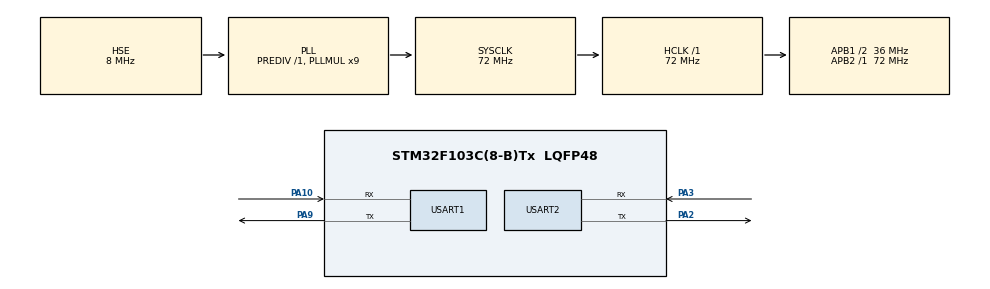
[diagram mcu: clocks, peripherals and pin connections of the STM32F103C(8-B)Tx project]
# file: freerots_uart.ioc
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Dma.Request0=USART1_RX
Dma.Request1=USART1_TX
Dma.USART1_RX.0.Direction=DMA_PERIPH_TO_MEMORY
Dma.USART1_RX.0.Instance=DMA1_Channel5
Dma.USART1_RX.0.MemDataAlignment=DMA_MDATAALIGN_BYTE
Dma.USART1_RX.0.MemInc=DMA_MINC_ENABLE
Dma.USART1_RX.0.Mode=DMA_NORMAL
Dma.USART1_RX.0.PeriphDataAlignment=DMA_PDATAALIGN_BYTE
Dma.USART1_RX.0.PeriphInc=DMA_PINC_DISABLE
Dma.USART1_RX.0.Priority=DMA_PRIORITY_LOW
Dma.USART1_TX.1.Direction=DMA_MEMORY_TO_PERIPH
Dma.USART1_TX.1.Instance=DMA1_Channel4
Dma.USART1_TX.1.MemDataAlignment=DMA_MDATAALIGN_BYTE
Dma.USART1_TX.1.MemInc=DMA_MINC_ENABLE
Dma.USART1_TX.1.Mode=DMA_NORMAL
Dma.USART1_TX.1.PeriphDataAlignment=DMA_PDATAALIGN_BYTE
Dma.USART1_TX.1.PeriphInc=DMA_PINC_DISABLE
Dma.USART1_TX.1.Priority=DMA_PRIORITY_LOW
FREERTOS.Tasks01=defaultTask,24,128,StartDefaultTask,Default,NULL,Dynamic,NULL,NULL
FREERTOS.configTOTAL_HEAP_SIZE=10240
Mcu.Family=STM32F1
Mcu.Name=STM32F103C(8-B)Tx
Mcu.Package=LQFP48
NVIC.DMA1_Channel4_IRQn=true\:5\:0\:false\:false\:true\:true\:false\:true\:true
NVIC.DMA1_Channel5_IRQn=true\:5\:0\:false\:false\:true\:true\:false\:true\:true
NVIC.PriorityGroup=NVIC_PRIORITYGROUP_4
NVIC.TIM4_IRQn=true\:15\:0\:false\:false\:true\:false\:false\:true\:true
NVIC.TimeBase=TIM4_IRQn
NVIC.TimeBaseIP=TIM4
NVIC.USART1_IRQn=true\:5\:0\:false\:false\:true\:true\:true\:true\:true
PA10.Mode=Asynchronous
PA10.Signal=USART1_RX
PA13.Mode=Serial_Wire
PA13.Signal=SYS_JTMS-SWDIO
PA14.Mode=Serial_Wire
PA14.Signal=SYS_JTCK-SWCLK
PA2.Mode=Asynchronous
PA2.Signal=USART2_TX
PA3.Mode=Asynchronous
PA3.Signal=USART2_RX
PA9.Mode=Asynchronous
PA9.Signal=USART1_TX
PC14-OSC32_IN.Mode=LSE-External-Oscillator
PC14-OSC32_IN.Signal=RCC_OSC32_IN
PC15-OSC32_OUT.Mode=LSE-External-Oscillator
PC15-OSC32_OUT.Signal=RCC_OSC32_OUT
PD0-OSC_IN.Mode=HSE-External-Oscillator
PD0-OSC_IN.Signal=RCC_OSC_IN
PD1-OSC_OUT.Mode=HSE-External-Oscillator
PD1-OSC_OUT.Signal=RCC_OSC_OUT
ProjectManager.HeapSize=0x200
ProjectManager.StackSize=0x400
ProjectManager.TargetToolchain=CMake
RCC.AHBFreq_Value=72000000
RCC.APB1CLKDivider=RCC_HCLK_DIV2
RCC.APB1Freq_Value=36000000
RCC.APB1TimFreq_Value=72000000
RCC.APB2Freq_Value=72000000
RCC.APB2TimFreq_Value=72000000
RCC.HCLKFreq_Value=72000000
RCC.PLLMUL=RCC_PLL_MUL9
RCC.PLLSourceVirtual=RCC_PLLSOURCE_HSE
RCC.SYSCLKFreq_VALUE=72000000
RCC.SYSCLKSource=RCC_SYSCLKSOURCE_PLLCLK
RCC.USBFreq_Value=72000000
USART1.VirtualMode=VM_ASYNC
USART2.VirtualMode=VM_ASYNC
VP_FREERTOS_VS_CMSIS_V2.Mode=CMSIS_V2
VP_SYS_VS_tim4.Mode=TIM4
board=custom

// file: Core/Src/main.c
/* USER CODE BEGIN Header */
/**
  ******************************************************************************
  * @file           : main.c
  * @brief          : Main program body
  ******************************************************************************
  * @attention
  *
  * Copyright (c) 2026 STMicroelectronics.
  * All rights reserved.
  *
  * This software is licensed under terms that can be found in the LICENSE file
  * in the root directory of this software component.
  * If no LICENSE file comes with this software, it is provided AS-IS.
  *
  ******************************************************************************
  */
/* USER CODE END Header */
#include "main.h"
#include "cmsis_os.h"

/* USER CODE BEGIN Includes */
#include "uart_driver.h"
#include "stdio.h"
#include "at_socket.h"

/* USER CODE END Includes */

/* USER CODE BEGIN PD */
#define WIFI_SSID     "Crazy"
#define WIFI_PWD      "12345987"
#define SERVER_IP     "172.20.10.2"
#define SERVER_PORT 8888
/* USER CODE END PD */

UART_HandleTypeDef huart1;
UART_HandleTypeDef huart2;
DMA_HandleTypeDef hdma_usart1_rx;
DMA_HandleTypeDef hdma_usart1_tx;

/* Definitions for defaultTask */
osThreadId_t defaultTaskHandle;
const osThreadAttr_t defaultTask_attributes = {
  .name = "defaultTask",
  .stack_size = 512 * 4,
  .priority = (osPriority_t) osPriorityNormal,
};

void SystemClock_Config(void);
static void MX_GPIO_Init(void);
static void MX_DMA_Init(void);
static void MX_USART1_UART_Init(void);
static void MX_USART2_UART_Init(void);
void StartDefaultTask(void *argument);

/* USER CODE BEGIN 0 */
int _write(int file, char *ptr, int len)
{
    HAL_UART_Transmit(&huart2, (uint8_t*)ptr, len, 1000);
    return len;
}

void vApplicationStackOverflowHook(TaskHandle_t xTask, char *pcTaskName) {
    /* 如果程序运行到这里，pcTaskName 就是溢出的任务名 */
    printf("Stack Overflow in task: %s\n", pcTaskName);
    while(1);
}
/* USER CODE END 0 */

int main(void)
{

  /* MCU Configuration--------------------------------------------------------*/

  /* Reset of all peripherals, Initializes the Flash interface and the Systick. */
  HAL_Init();

  /* Configure the system clock */
  SystemClock_Config();

  /* Initialize all configured peripherals */
  MX_GPIO_Init();
  MX_DMA_Init();
  MX_USART1_UART_Init();
  MX_USART2_UART_Init();
  /* USER CODE BEGIN 2 */
  struct UART_Device *ptUart = UART_GetDevice("STM32_UART2");
  ptUart->Init(ptUart, 115200, UART_MODE_POLLING);
  /* USER CODE END 2 */

  /* Init scheduler */
  osKernelInitialize();

  /* Create the thread(s) */
  /* creation of defaultTask */
  defaultTaskHandle = osThreadNew(StartDefaultTask, NULL, &defaultTask_attributes);

  /* USER CODE BEGIN RTOS_THREADS */
  /* add threads, ... */
  //void tcp_client_test_task(void *arg);
  //BaseType_t xReturn = xTaskCreate(tcp_client_test_task, "tcp_test", 160, NULL, osPriorityNormal, NULL);
  //if (xReturn != pdPASS) {
  //    printf("Failed to create tcp_client_test_task! Error code: %ld\n", xReturn);
      // 如果这里打印了，说明是内存分配失败
  //}
  /* USER CODE END RTOS_THREADS */

  /* Start scheduler */
  osKernelStart();

  /* We should never get here as control is now taken by the scheduler */

  /* Infinite loop */
  while (1)
  {

  }
}

void SystemClock_Config(void)
{
  RCC_OscInitTypeDef RCC_OscInitStruct = {0};
  RCC_ClkInitTypeDef RCC_ClkInitStruct = {0};

  /** Initializes the RCC Oscillators according to the specified parameters
  * in the RCC_OscInitTypeDef structure.
  */
  RCC_OscInitStruct.OscillatorType = RCC_OSCILLATORTYPE_HSE;
  RCC_OscInitStruct.HSEState = RCC_HSE_ON;
  RCC_OscInitStruct.HSEPredivValue = RCC_HSE_PREDIV_DIV1;
  RCC_OscInitStruct.HSIState = RCC_HSI_ON;
  RCC_OscInitStruct.PLL.PLLState = RCC_PLL_ON;
  RCC_OscInitStruct.PLL.PLLSource = RCC_PLLSOURCE_HSE;
  RCC_OscInitStruct.PLL.PLLMUL = RCC_PLL_MUL9;
  if (HAL_RCC_OscConfig(&RCC_OscInitStruct) != HAL_OK)
  {
    Error_Handler();
  }

  /** Initializes the CPU, AHB and APB buses clocks
  */
  RCC_ClkInitStruct.ClockType = RCC_CLOCKTYPE_HCLK|RCC_CLOCKTYPE_SYSCLK
                              |RCC_CLOCKTYPE_PCLK1|RCC_CLOCKTYPE_PCLK2;
  RCC_ClkInitStruct.SYSCLKSource = RCC_SYSCLKSOURCE_PLLCLK;
  RCC_ClkInitStruct.AHBCLKDivider = RCC_SYSCLK_DIV1;
  RCC_ClkInitStruct.APB1CLKDivider = RCC_HCLK_DIV2;
  RCC_ClkInitStruct.APB2CLKDivider = RCC_HCLK_DIV1;

  if (HAL_RCC_ClockConfig(&RCC_ClkInitStruct, FLASH_LATENCY_2) != HAL_OK)
  {
    Error_Handler();
  }
}

static void MX_USART1_UART_Init(void)
{

  huart1.Instance = USART1;
  huart1.Init.BaudRate = 115200;
  huart1.Init.WordLength = UART_WORDLENGTH_8B;
  huart1.Init.StopBits = UART_STOPBITS_1;
  huart1.Init.Parity = UART_PARITY_NONE;
  huart1.Init.Mode = UART_MODE_TX_RX;
  huart1.Init.HwFlowCtl = UART_HWCONTROL_NONE;
  huart1.Init.OverSampling = UART_OVERSAMPLING_16;
  if (HAL_UART_Init(&huart1) != HAL_OK)
  {
    Error_Handler();
  }

}

static void MX_USART2_UART_Init(void)
{

  huart2.Instance = USART2;
  huart2.Init.BaudRate = 115200;
  huart2.Init.WordLength = UART_WORDLENGTH_8B;
  huart2.Init.StopBits = UART_STOPBITS_1;
  huart2.Init.Parity = UART_PARITY_NONE;
  huart2.Init.Mode = UART_MODE_TX_RX;
  huart2.Init.HwFlowCtl = UART_HWCONTROL_NONE;
  huart2.Init.OverSampling = UART_OVERSAMPLING_16;
  if (HAL_UART_Init(&huart2) != HAL_OK)
  {
    Error_Handler();
  }

}

static void MX_DMA_Init(void)
{

  /* DMA controller clock enable */
  __HAL_RCC_DMA1_CLK_ENABLE();

  /* DMA interrupt init */
  /* DMA1_Channel4_IRQn interrupt configuration */
  HAL_NVIC_SetPriority(DMA1_Channel4_IRQn, 5, 0);
  HAL_NVIC_EnableIRQ(DMA1_Channel4_IRQn);
  /* DMA1_Channel5_IRQn interrupt configuration */
  HAL_NVIC_SetPriority(DMA1_Channel5_IRQn, 5, 0);
  HAL_NVIC_EnableIRQ(DMA1_Channel5_IRQn);

}

static void MX_GPIO_Init(void)
{

  /* GPIO Ports Clock Enable */
  __HAL_RCC_GPIOC_CLK_ENABLE();
  __HAL_RCC_GPIOD_CLK_ENABLE();
  __HAL_RCC_GPIOA_CLK_ENABLE();

}

void StartDefaultTask(void *argument)
{
  /* USER CODE BEGIN 5 */

  /* Infinite loop */
  for(;;)
  {
    if (at_init("STM32_UART1") != 0) {
        printf("FATAL: AT Init Fail\n");
        while(1) vTaskDelay(1000); // 挂起而不是删除，方便你观察错误
    }

    while (1) {
        int ret = at_connect_ap(WIFI_SSID, WIFI_PWD);
        if (ret == 0) break;
        else printf("Error: %d\n", ret);
        vTaskDelay(1000);
    }

    printf("WiFi Connected. Preparing TCP Server..\n");

    int iSocketServer;
    iSocketServer = (int)socket(AF_INET, SOCK_STREAM, 0);
    if (-1 == iSocketServer) {
        printf("Create TCP Server Socket Failed\n");
        while (1) vTaskDelay(1000);
    }

    struct sockaddr_in tSocketServerAddr;
    //static char ucSendBuf[64];

    tSocketServerAddr.sin_family = AF_INET;
    tSocketServerAddr.sin_port = htons(8080);  /* host to net, short */
    tSocketServerAddr.sin_addr.s_addr = INADDR_ANY;
    bind(iSocketServer, (struct sockaddr*)&tSocketServerAddr, sizeof(struct sockaddr));

    if (listen(iSocketServer, 5) < 0) {
        printf("Listen Failed\n");
        while (1) vTaskDelay(1000);
    }

    printf("TCP Server Listening..\n");

    struct sockaddr_in tSocketClientAddr;
    socklen_t tSocketClientAddrLen = sizeof(tSocketClientAddr);
    int sock_client = -1;

    while (sock_client < 0) {
      sock_client = accept(iSocketServer, (struct sockaddr*)&tSocketClientAddr, &tSocketClientAddrLen);
      vTaskDelay(1000);
    }

    printf("Client Connected! Client Socket ID:  %d\n", sock_client);

    static uint8_t recv_buf[128];

    while (1)
    {
        memset(recv_buf, 0, sizeof(recv_buf));

        int rx_size = recv(sock_client, recv_buf, sizeof(recv_buf) - 1, 0);

        if (rx_size > 0) {
            recv_buf[rx_size] = '\0';
            printf("Server Received: %s\n", recv_buf);

            send(sock_client, recv_buf, rx_size, 0);
        }
        else
        {
            // 延时 1 秒
            vTaskDelay(100);
        }
    }

    //vTaskDelete(NULL);
  }
  /* USER CODE END 5 */
}

void HAL_TIM_PeriodElapsedCallback(TIM_HandleTypeDef *htim)
{
  if (htim->Instance == TIM4)
  {
    HAL_IncTick();
  }
}

void Error_Handler(void)
{
  __disable_irq();
  while (1)
  {
  }
}
